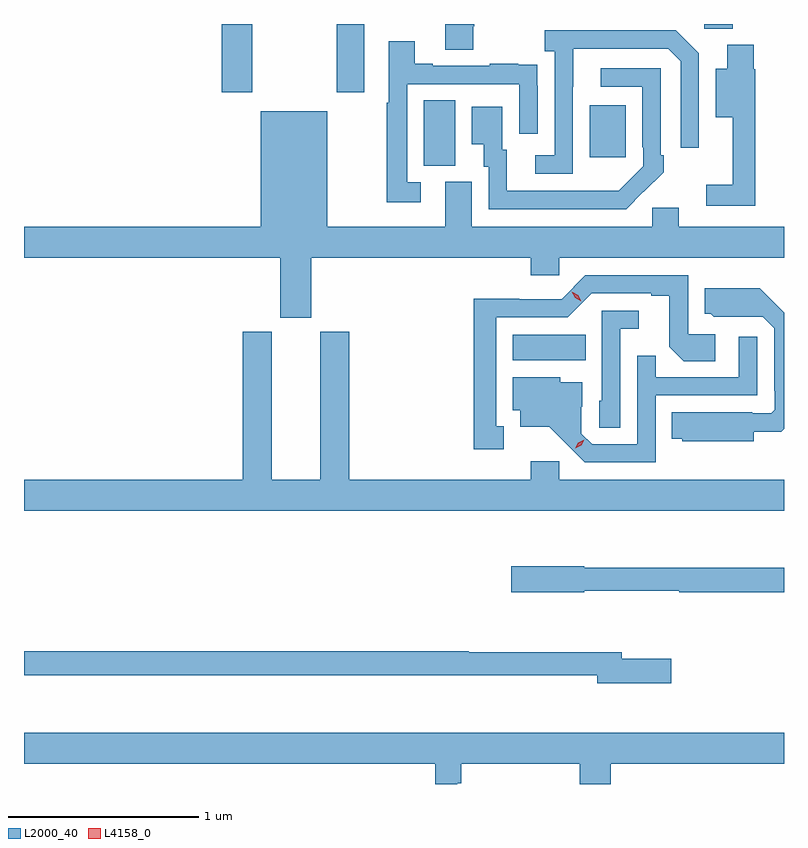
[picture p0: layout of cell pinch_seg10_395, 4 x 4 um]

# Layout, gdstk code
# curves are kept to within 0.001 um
import gdstk
lib = gdstk.Library(unit=1e-6, precision=1e-09)
def R(c, l, rs):  # rectangles x0, y0, x1, y1
    for r in rs: c.add(gdstk.rectangle(r[:2], r[2:], *l))
def P(c, l, *ps):  # polygons
    for p in ps: c.add(gdstk.Polygon(p, *l))
L2000_40 = (2000, 40)
L4158_0 = (4158, 0)

pinch_seg10_395 = lib.new_cell('pinch_seg10_395')
R(pinch_seg10_395, L2000_40, [(377.132,1314.428,377.516,1314.562), (376.664,1315.453,376.828,1315.796), (377.537,1315.497,377.725,1315.771), (375.599,1315.839,375.759,1316.198), (376.204,1315.839,376.351,1316.198), (378.138,1316.174,378.29,1316.198)])
P(pinch_seg10_395, L2000_40, [(376.923,1316.187),(376.928,1316.187),(376.928,1316.198),(376.775,1316.198),(376.775,1316.062),(376.923,1316.062)],
  [(377.448,1315.867),(377.449,1316.067),(377.949,1316.067),(378.015,1316.001),(378.015,1315.548),(378.111,1315.548),(378.111,1316.043),(377.99,1316.164),(377.301,1316.164),(377.301,1316.054),(377.352,1316.054),(377.352,1315.506),(377.25,1315.506),(377.25,1315.41),(377.448,1315.41)],
  [(376.648,1315.365),(376.575,1315.365),(376.575,1315.881),(377.166,1315.881),(377.166,1315.62),(377.262,1315.62),(377.262,1315.874),(377.261,1315.874),(377.261,1315.983),(377.159,1315.983),(377.159,1315.99),(377.011,1315.99),(377.011,1315.977),(376.711,1315.977),(376.711,1315.99),(376.615,1315.99),(376.615,1316.107),(376.479,1316.107),(376.479,1315.784),(376.467,1315.784),(376.467,1315.26),(376.648,1315.26)],
  [(378.407,1315.959),(378.401,1315.959),(378.401,1316.089),(378.26,1316.089),(378.26,1315.963),(378.2,1315.963),(378.2,1315.706),(378.29,1315.706),(378.29,1315.351),(378.15,1315.351),(378.15,1315.242),(378.407,1315.242)],
  [(377.819,1315.315),(377.82,1315.314),(377.925,1315.419),(377.925,1315.507),(377.91,1315.507),(377.91,1315.965),(377.595,1315.965),(377.595,1315.869),(377.814,1315.869),(377.814,1315.549),(377.817,1315.549),(377.817,1315.449),(377.689,1315.321),(377.101,1315.32),(377.101,1315.536),(377.077,1315.536),(377.077,1315.762),(376.916,1315.762),(376.916,1315.565),(376.979,1315.565),(376.979,1315.446),(377.004,1315.446),(377.004,1315.224),(377.728,1315.224)],
  [(376.072,1314.968),(377.225,1314.968),(377.225,1314.875),(377.376,1314.875),(377.376,1314.968),(378.559,1314.968),(378.559,1315.132),(378.004,1315.132),(378.004,1315.23),(377.865,1315.23),(377.865,1315.132),(376.915,1315.132),(376.915,1315.368),(376.775,1315.368),(376.775,1315.132),(376.156,1315.132),(376.156,1315.738),(375.806,1315.738),(375.806,1315.132),(374.559,1315.132),(374.559,1314.968),(375.908,1314.968),(375.908,1314.651),(376.072,1314.651)],
  [(377.083,1314.081),(377.044,1314.081),(377.044,1314.654),(377.421,1314.654),(377.547,1314.78),(377.861,1314.78),(377.861,1314.768),(377.955,1314.768),(377.955,1314.5),(378.031,1314.424),(378.196,1314.424),(378.196,1314.564),(378.054,1314.564),(378.054,1314.876),(377.514,1314.876),(377.388,1314.75),(377.166,1314.75),(377.166,1314.752),(376.926,1314.752),(376.926,1313.961),(377.083,1313.961)],
  [(378.4,1314.053),(378.544,1314.053),(378.559,1314.068),(378.559,1314.678),(378.431,1314.808),(378.143,1314.808),(378.143,1314.672),(378.174,1314.672),(378.19,1314.656),(378.447,1314.657),(378.507,1314.597),(378.507,1314.268),(378.51,1314.268),(378.51,1314.168),(378.492,1314.15),(378.392,1314.15),(378.392,1314.154),(377.968,1314.154),(377.968,1314.014),(378.024,1314.014),(378.024,1314.002),(378.4,1314.002)],
  [(377.697,1314.593),(377.794,1314.593),(377.794,1314.69),(377.601,1314.69),(377.601,1314.216),(377.586,1314.216),(377.586,1314.073),(377.697,1314.073)],
  [(378.559,1313.8),(377.376,1313.8),(377.376,1313.896),(377.225,1313.896),(377.225,1313.8),(376.271,1313.8),(376.271,1314.579),(376.118,1314.579),(376.118,1313.8),(375.862,1313.8),(375.862,1314.579),(375.71,1314.579),(375.71,1313.8),(374.559,1313.8),(374.559,1313.636),(378.559,1313.636)],
  [(377.883,1314.243),(378.417,1314.243),(378.417,1314.553),(378.321,1314.553),(378.321,1314.339),(377.885,1314.339),(377.885,1314.452),(377.787,1314.452),(377.787,1313.985),(377.55,1313.985),(377.493,1314.042),(377.493,1314.184),(377.497,1314.184),(377.497,1314.313),(377.382,1314.313),(377.382,1314.34),(377.132,1314.34),(377.132,1314.164),(377.171,1314.164),(377.171,1314.077),(377.323,1314.077),(377.51,1313.892),(377.883,1313.892)],
  [(377.508,1313.214),(378.008,1313.214),(378.008,1313.206),(378.559,1313.206),(378.559,1313.335),(377.508,1313.335),(377.508,1313.343),(377.124,1313.343),(377.124,1313.206),(377.508,1313.206)],
  [(377.965,1312.857),(377.704,1312.857),(377.704,1312.891),(376.9,1312.891),(376.9,1312.898),(374.559,1312.898),(374.559,1312.77),(377.576,1312.77),(377.576,1312.727),(377.965,1312.727)],
  [(376.839,1312.203),(376.859,1312.203),(376.859,1312.304),(377.483,1312.304),(377.483,1312.198),(377.648,1312.198),(377.648,1312.304),(378.559,1312.304),(378.559,1312.468),(374.559,1312.468),(374.559,1312.304),(376.723,1312.304),(376.723,1312.198),(376.839,1312.198)])
P(pinch_seg10_395, L4158_0, [(377.46,1313.966),(377.46,1313.966),(377.477,1313.995),(377.508,1314.01),(377.508,1314.01),(377.508,1314.01),(377.491,1313.98),(377.46,1313.966)],
  [(377.492,1314.738),(377.46,1314.758),(377.443,1314.79),(377.443,1314.79),(377.443,1314.79),(377.475,1314.771),(377.492,1314.738),(377.492,1314.738)])

lib.write_gds('pinch_seg10_395.gds')
